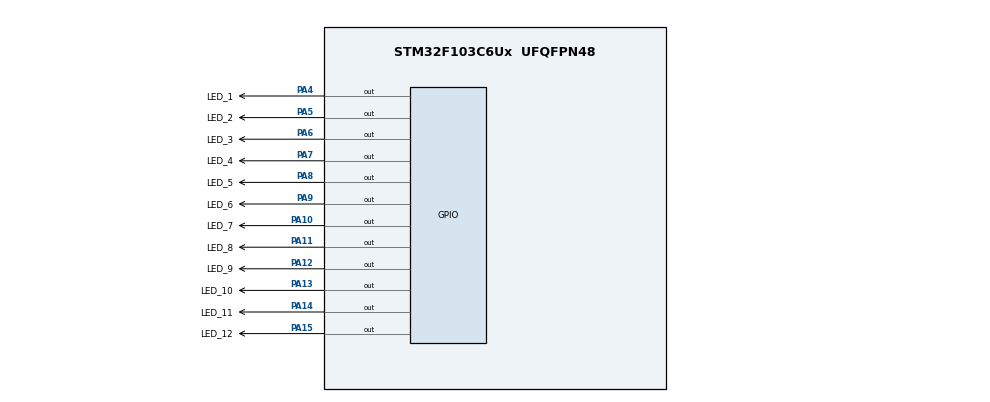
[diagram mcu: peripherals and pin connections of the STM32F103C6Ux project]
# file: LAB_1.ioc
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Mcu.Family=STM32F1
Mcu.Name=STM32F103C6Ux
Mcu.Package=UFQFPN48
NVIC.PriorityGroup=NVIC_PRIORITYGROUP_4
PA10.GPIO_Label=LED_7
PA10.Signal=GPIO_Output
PA11.GPIO_Label=LED_8
PA11.Signal=GPIO_Output
PA12.GPIO_Label=LED_9
PA12.Signal=GPIO_Output
PA13.GPIO_Label=LED_10
PA13.Signal=GPIO_Output
PA14.GPIO_Label=LED_11
PA14.Signal=GPIO_Output
PA15.GPIO_Label=LED_12
PA15.Signal=GPIO_Output
PA4.GPIO_Label=LED_1
PA4.Signal=GPIO_Output
PA5.GPIO_Label=LED_2
PA5.Signal=GPIO_Output
PA6.GPIO_Label=LED_3
PA6.Signal=GPIO_Output
PA7.GPIO_Label=LED_4
PA7.Signal=GPIO_Output
PA8.GPIO_Label=LED_5
PA8.Signal=GPIO_Output
PA9.GPIO_Label=LED_6
PA9.Signal=GPIO_Output
ProjectManager.HeapSize=0x200
ProjectManager.StackSize=0x400
ProjectManager.TargetToolchain=STM32CubeIDE
RCC.APB1Freq_Value=8000000
RCC.APB2Freq_Value=8000000
VP_SYS_VS_ND.Mode=No_Debug
board=custom

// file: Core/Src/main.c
/* USER CODE BEGIN Header */
/**
  ******************************************************************************
  * @file           : main.c
  * @brief          : Main program body
  ******************************************************************************
  * @attention
  *
  * <h2><center>&copy; Copyright (c) 2023 STMicroelectronics.
  * All rights reserved.</center></h2>
  *
  * This software component is licensed by ST under BSD 3-Clause license,
  * the "License"; You may not use this file except in compliance with the
  * License. You may obtain a copy of the License at:
  *                        opensource.org/licenses/BSD-3-Clause
  *
  ******************************************************************************
  */
/* USER CODE END Header */
#include "main.h"

void SystemClock_Config(void);
static void MX_GPIO_Init(void);

/* USER CODE BEGIN 0 */
void setOnAllClock() {
	// turn off all LEDs
	HAL_GPIO_WritePin(LED_1_GPIO_Port, LED_1_Pin, 0);
	HAL_GPIO_WritePin(LED_2_GPIO_Port, LED_2_Pin, 0);
	HAL_GPIO_WritePin(LED_3_GPIO_Port, LED_3_Pin, 0);
	HAL_GPIO_WritePin(LED_4_GPIO_Port, LED_4_Pin, 0);
	HAL_GPIO_WritePin(LED_5_GPIO_Port, LED_5_Pin, 0);
	HAL_GPIO_WritePin(LED_6_GPIO_Port, LED_6_Pin, 0);
	HAL_GPIO_WritePin(LED_1_GPIO_Port, LED_7_Pin, 0);
	HAL_GPIO_WritePin(LED_8_GPIO_Port, LED_8_Pin, 0);
	HAL_GPIO_WritePin(LED_9_GPIO_Port, LED_9_Pin, 0);
	HAL_GPIO_WritePin(LED_10_GPIO_Port, LED_10_Pin, 0);
	HAL_GPIO_WritePin(LED_11_GPIO_Port, LED_11_Pin, 0);
	HAL_GPIO_WritePin(LED_12_GPIO_Port, LED_12_Pin, 0);
}
void clearAllClock() {
	// turn off all LEDs
	HAL_GPIO_WritePin(LED_1_GPIO_Port, LED_1_Pin, 1);
	HAL_GPIO_WritePin(LED_2_GPIO_Port, LED_2_Pin, 1);
	HAL_GPIO_WritePin(LED_3_GPIO_Port, LED_3_Pin, 1);
	HAL_GPIO_WritePin(LED_4_GPIO_Port, LED_4_Pin, 1);
	HAL_GPIO_WritePin(LED_5_GPIO_Port, LED_5_Pin, 1);
	HAL_GPIO_WritePin(LED_6_GPIO_Port, LED_6_Pin, 1);
	HAL_GPIO_WritePin(LED_1_GPIO_Port, LED_7_Pin, 1);
	HAL_GPIO_WritePin(LED_8_GPIO_Port, LED_8_Pin, 1);
	HAL_GPIO_WritePin(LED_9_GPIO_Port, LED_9_Pin, 1);
	HAL_GPIO_WritePin(LED_10_GPIO_Port, LED_10_Pin, 1);
	HAL_GPIO_WritePin(LED_11_GPIO_Port, LED_11_Pin, 1);
	HAL_GPIO_WritePin(LED_12_GPIO_Port, LED_12_Pin, 1);
}

void displayLED(int hour) {
	if (hour <= 0 || hour > 12) {
		// Handle invalid input
		return;
	}

	clearAllClock();

	if (hour == 12) {
		HAL_GPIO_WritePin(LED_1_GPIO_Port, LED_1_Pin, 0);
	}
	if (hour == 1) {
		HAL_GPIO_WritePin(LED_2_GPIO_Port, LED_2_Pin, 0);
	}
	if (hour == 2) {
		HAL_GPIO_WritePin(LED_3_GPIO_Port, LED_3_Pin, 0);
	}
	if (hour == 3) {
		HAL_GPIO_WritePin(LED_4_GPIO_Port, LED_4_Pin, 0);
	}
	if (hour == 4) {
		HAL_GPIO_WritePin(LED_5_GPIO_Port, LED_5_Pin, 0);
	}
	if (hour == 5) {
		HAL_GPIO_WritePin(LED_6_GPIO_Port, LED_6_Pin, 0);
	}
	if (hour == 6) {
		HAL_GPIO_WritePin(LED_7_GPIO_Port, LED_7_Pin, 0);
	}
	if (hour == 7) {
		HAL_GPIO_WritePin(LED_8_GPIO_Port, LED_8_Pin, 0);
	}
	if (hour == 8) {
		HAL_GPIO_WritePin(LED_9_GPIO_Port, LED_9_Pin, 0);
	}
	if (hour == 9) {
		HAL_GPIO_WritePin(LED_10_GPIO_Port, LED_10_Pin, 0);
	}
	if (hour == 10) {
		HAL_GPIO_WritePin(LED_11_GPIO_Port, LED_11_Pin, 0);
	}
	if (hour == 11) {
		HAL_GPIO_WritePin(LED_12_GPIO_Port, LED_12_Pin, 0);
	}
}

/* USER CODE END 0 */

int main(void)
{

  /* MCU Configuration--------------------------------------------------------*/

  /* Reset of all peripherals, Initializes the Flash interface and the Systick. */
  HAL_Init();

  /* Configure the system clock */
  SystemClock_Config();

  /* Initialize all configured peripherals */
  MX_GPIO_Init();

  /* Infinite loop */
  /* USER CODE BEGIN WHILE */
  int count = 12;
  clearAllClock();
  while (1)
  {
	  displayLED(12 - (count/100)%12);
	  if (count <= 0) {
		  count  = 1200;
	  }
	  count = count - 1;
	  HAL_Delay(10);
  }
  /* USER CODE END 3 */
}

void SystemClock_Config(void)
{
  RCC_OscInitTypeDef RCC_OscInitStruct = {0};
  RCC_ClkInitTypeDef RCC_ClkInitStruct = {0};

  /** Initializes the RCC Oscillators according to the specified parameters
  * in the RCC_OscInitTypeDef structure.
  */
  RCC_OscInitStruct.OscillatorType = RCC_OSCILLATORTYPE_HSI;
  RCC_OscInitStruct.HSIState = RCC_HSI_ON;
  RCC_OscInitStruct.HSICalibrationValue = RCC_HSICALIBRATION_DEFAULT;
  RCC_OscInitStruct.PLL.PLLState = RCC_PLL_NONE;
  if (HAL_RCC_OscConfig(&RCC_OscInitStruct) != HAL_OK)
  {
    Error_Handler();
  }
  /** Initializes the CPU, AHB and APB buses clocks
  */
  RCC_ClkInitStruct.ClockType = RCC_CLOCKTYPE_HCLK|RCC_CLOCKTYPE_SYSCLK
                              |RCC_CLOCKTYPE_PCLK1|RCC_CLOCKTYPE_PCLK2;
  RCC_ClkInitStruct.SYSCLKSource = RCC_SYSCLKSOURCE_HSI;
  RCC_ClkInitStruct.AHBCLKDivider = RCC_SYSCLK_DIV1;
  RCC_ClkInitStruct.APB1CLKDivider = RCC_HCLK_DIV1;
  RCC_ClkInitStruct.APB2CLKDivider = RCC_HCLK_DIV1;

  if (HAL_RCC_ClockConfig(&RCC_ClkInitStruct, FLASH_LATENCY_0) != HAL_OK)
  {
    Error_Handler();
  }
}

static void MX_GPIO_Init(void)
{
  GPIO_InitTypeDef GPIO_InitStruct = {0};

  /* GPIO Ports Clock Enable */
  __HAL_RCC_GPIOA_CLK_ENABLE();

  /*Configure GPIO pin Output Level */
  HAL_GPIO_WritePin(GPIOA, LED_1_Pin|LED_2_Pin|LED_3_Pin|LED_4_Pin
                          |LED_5_Pin|LED_6_Pin|LED_7_Pin|LED_8_Pin
                          |LED_9_Pin|LED_10_Pin|LED_11_Pin|LED_12_Pin, GPIO_PIN_RESET);

  /*Configure GPIO pins : LED_1_Pin LED_2_Pin LED_3_Pin LED_4_Pin
                           LED_5_Pin LED_6_Pin LED_7_Pin LED_8_Pin
                           LED_9_Pin LED_10_Pin LED_11_Pin LED_12_Pin */
  GPIO_InitStruct.Pin = LED_1_Pin|LED_2_Pin|LED_3_Pin|LED_4_Pin
                          |LED_5_Pin|LED_6_Pin|LED_7_Pin|LED_8_Pin
                          |LED_9_Pin|LED_10_Pin|LED_11_Pin|LED_12_Pin;
  GPIO_InitStruct.Mode = GPIO_MODE_OUTPUT_PP;
  GPIO_InitStruct.Pull = GPIO_NOPULL;
  GPIO_InitStruct.Speed = GPIO_SPEED_FREQ_LOW;
  HAL_GPIO_Init(GPIOA, &GPIO_InitStruct);

}

void Error_Handler(void)
{
  __disable_irq();
  while (1)
  {
  }
}

/************************ (C) COPYRIGHT STMicroelectronics *****END OF FILE****/
